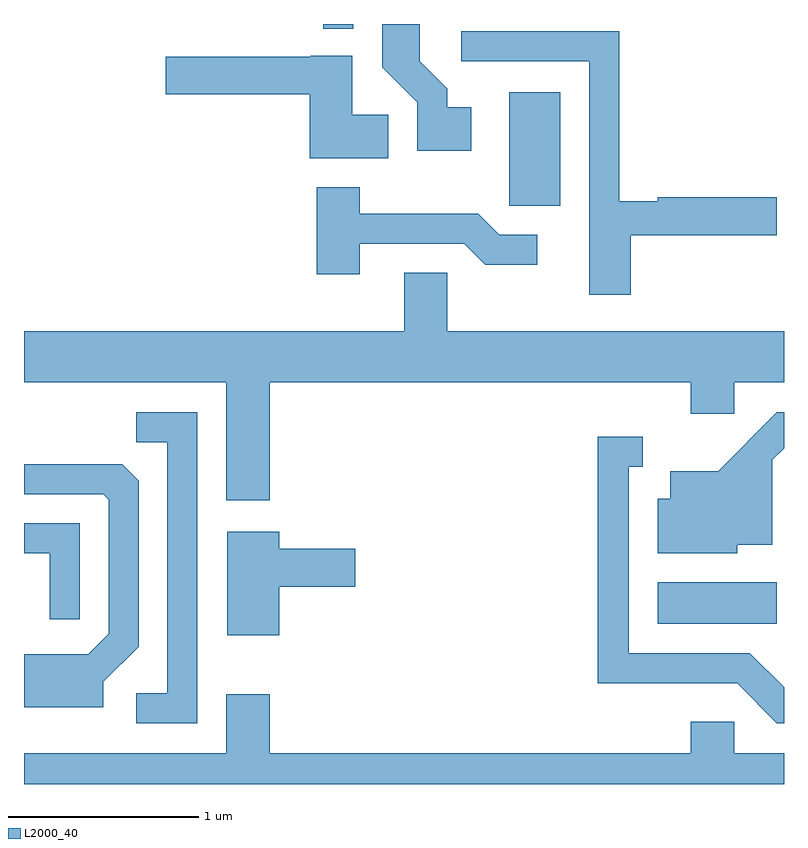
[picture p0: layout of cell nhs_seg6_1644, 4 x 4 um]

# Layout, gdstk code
import gdstk
lib = gdstk.Library(unit=1e-6, precision=1e-09)
def R(c, l, rs):  # rectangles x0, y0, x1, y1
    for r in rs: c.add(gdstk.rectangle(r[:2], r[2:], *l))
def P(c, l, *ps):  # polygons
    for p in ps: c.add(gdstk.Polygon(p, *l))
L2000_40 = (2000, 40)

nhs_seg6_1644 = lib.new_cell('nhs_seg6_1644')
R(nhs_seg6_1644, L2000_40, [(238.946,1531.006,239.574,1531.224), (238.166,1533.206,238.434,1533.804), (237.186,1534.138,237.344,1534.162)])
P(nhs_seg6_1644, L2000_40, [(237.964,1533.724),(237.839,1533.724),(237.839,1533.822),(237.694,1533.967),(237.694,1534.162),(237.496,1534.162),(237.496,1533.934),(237.681,1533.749),(237.681,1533.496),(237.964,1533.496)],
  [(238.804,1533.051),(239.574,1533.051),(239.574,1533.249),(238.946,1533.249),(238.946,1533.229),(238.744,1533.229),(238.744,1534.124),(237.913,1534.124),(237.913,1533.966),(238.586,1533.966),(238.586,1532.736),(238.804,1532.736)],
  [(237.529,1533.684),(237.339,1533.684),(237.339,1533.994),(237.12,1533.994),(237.12,1533.989),(236.356,1533.989),(236.356,1533.791),(237.116,1533.791),(237.116,1533.456),(237.529,1533.456)],
  [(237.379,1533.006),(237.929,1533.006),(238.039,1532.896),(238.313,1532.896),(238.313,1533.054),(238.112,1533.054),(238.002,1533.164),(237.379,1533.164),(237.379,1533.304),(237.151,1533.304),(237.151,1532.846),(237.379,1532.846)],
  [(236.904,1532.276),(239.121,1532.276),(239.121,1532.111),(239.349,1532.111),(239.349,1532.276),(239.611,1532.276),(239.611,1532.544),(237.839,1532.544),(237.839,1532.854),(237.611,1532.854),(237.611,1532.544),(235.611,1532.544),(235.611,1532.276),(236.676,1532.276),(236.676,1531.656),(236.904,1531.656)],
  [(239.364,1531.421),(239.549,1531.421),(239.549,1531.869),(239.611,1531.93),(239.611,1532.119),(239.574,1532.119),(239.264,1531.809),(239.011,1531.809),(239.011,1531.664),(238.946,1531.664),(238.946,1531.376),(239.364,1531.376)],
  [(236.524,1532.119),(236.203,1532.119),(236.203,1531.961),(236.366,1531.961),(236.366,1530.639),(236.203,1530.639),(236.203,1530.481),(236.524,1530.481)],
  [(239.611,1530.67),(239.432,1530.849),(238.794,1530.849),(238.794,1531.831),(238.868,1531.831),(238.868,1531.989),(238.631,1531.989),(238.631,1530.691),(239.364,1530.691),(239.574,1530.481),(239.611,1530.481)],
  [(236.029,1530.699),(236.214,1530.884),(236.214,1531.759),(236.129,1531.844),(235.611,1531.844),(235.611,1531.686),(236.029,1531.686),(236.056,1531.659),(236.056,1530.952),(235.949,1530.844),(235.611,1530.844),(235.611,1530.566),(236.029,1530.566)],
  [(235.904,1531.534),(235.611,1531.534),(235.611,1531.376),(235.746,1531.376),(235.746,1531.028),(235.904,1531.028)],
  [(236.954,1531.201),(237.354,1531.201),(237.354,1531.399),(236.954,1531.399),(236.954,1531.489),(236.681,1531.489),(236.681,1530.946),(236.954,1530.946)],
  [(239.611,1530.324),(239.349,1530.324),(239.349,1530.489),(239.121,1530.489),(239.121,1530.324),(236.904,1530.324),(236.904,1530.634),(236.676,1530.634),(236.676,1530.324),(235.611,1530.324),(235.611,1530.162),(239.611,1530.162)])

lib.write_gds('nhs_seg6_1644.gds')
